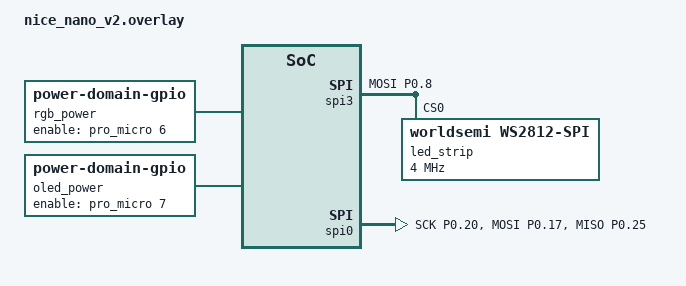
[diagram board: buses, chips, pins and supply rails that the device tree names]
#include <dt-bindings/led/led.h>

&pinctrl {
	spi3_default: spi3_default {
		group1 {
			psels = <NRF_PSEL(SPIM_MOSI, 0, 8)>;
		};
	};
	
	spi3_sleep: spi3_sleep {
		group1 {
			psels = <NRF_PSEL(SPIM_MOSI, 0, 8)>;
			low-power-enable;
		};
	};
	
	spi0_default: spi0_default {
		group1 {
			psels = <NRF_PSEL(SPIM_SCK, 0, 20)>,
			<NRF_PSEL(SPIM_MOSI, 0, 17)>,
			<NRF_PSEL(SPIM_MISO, 0, 25)>;
		};
	};
	
	spi0_sleep: spi0_sleep {
		group1 {
			psels = <NRF_PSEL(SPIM_SCK, 0, 20)>,
			<NRF_PSEL(SPIM_MOSI, 0, 17)>,
			<NRF_PSEL(SPIM_MISO, 0, 25)>;
			low-power-enable;
		};
	};
	
	/* configuration for i2c0 device, default state */
	i2c1_default: i2c1_default {
		group1 {
			psels = <NRF_PSEL(TWIM_SDA, 0, 22)>,
			<NRF_PSEL(TWIM_SCL, 0, 24)>;
		};
	};
	
	i2c1_sleep: i2c1_sleep {
		group1 {
			psels = <NRF_PSEL(TWIM_SDA, 0, 22)>,
			<NRF_PSEL(TWIM_SCL, 0, 24)>;
			low-power-enable;
		};
	};
};

&spi3 {
	compatible = "nordic,nrf-spim";
	status = "okay";
	
	pinctrl-0 = <&spi3_default>;
	pinctrl-1 = <&spi3_sleep>;
	pinctrl-names = "default", "sleep";
	
	led_strip: ws2812@0 {
		compatible = "worldsemi,ws2812-spi";
		
		power-domain = <&rgb_power>;
		zephyr,pm-device-runtime-auto;
		
		/* SPI */
		reg = <0>; /* ignored, but necessary for SPI bindings */
		spi-max-frequency = <4000000>;
		
		/* WS2812 */
		chain-length = <21>; /* 0 underglow, 18 per-key LEDs per side*/
		spi-one-frame = <0x70>;
		spi-zero-frame = <0x40>;
		
		color-mapping = <LED_COLOR_ID_GREEN LED_COLOR_ID_RED LED_COLOR_ID_BLUE>;
	};
};

/*
* Nice!View
*/

nice_view_spi: &spi0 {
	compatible = "nordic,nrf-spim";
	pinctrl-0 = <&spi0_default>;
	pinctrl-1 = <&spi0_sleep>;
	pinctrl-names = "default", "sleep";
	cs-gpios = <&pro_micro 1 GPIO_ACTIVE_HIGH>;
	// power-domain = <&oled_power>;
};

// &pro_micro_i2c {
// 	// status = "disabled";
// 	status = "okay";
// };

&mpr121: i2c1@40004000 {
	compatible = "nxp,mpr121";
	reg = <0x40004000>;
	status = "okay";
	
	pinctrl-0 = <&i2c1_default>;
	pinctrl-1 = <&i2c1_sleep>;
	pinctrl-names = "default", "sleep";
	// dr-gpios = <&vik_conn 5 (GPIO_ACTIVE_HIGH)>; // DR pin on cirque is always &vik_conn 5
	
	// sensitivity = "4x";
	// sleep;
	// no-taps;
};
};


/ {
	chosen {
		zmk,underglow = &led_strip;
		zmk,display-default-power-domain = &oled_power;
	};
	
	rgb_power: rgb_power {
		compatible = "power-domain-gpio";// , "power-domain";
		startup-delay-us = <200>;
		off-on-delay-us = <2000>;
		enable-gpios = <&pro_micro 6 GPIO_ACTIVE_HIGH>;
		power-domain = <&core_power_domain>;
		zephyr,pm-device-runtime-auto;
	};
	
	oled_power: oled_power {
		compatible = "power-domain-gpio", "power-domain";
		startup-delay-us = <2000>;// if this value is too low the OLED will not turn on, the MOSFET will turn on the power but the display will not show anything  
		off-on-delay-us = <2000>;// if this value is too low the OLED will not turn on, see above (startup-delay-us)
		enable-gpios = <&pro_micro 7 GPIO_ACTIVE_HIGH>;
		power-domain = <&core_power_domain>;
		zephyr,pm-device-runtime-auto;
	};
	
	mpr121_input {
		compatible = "zmk,input-listener";
		device = <&mpr121>;
		
		// Options for cirque, to be defined in the keyboard shield
		// xy-swap;
		// y-invert;
		// x-invert;
	};
};
